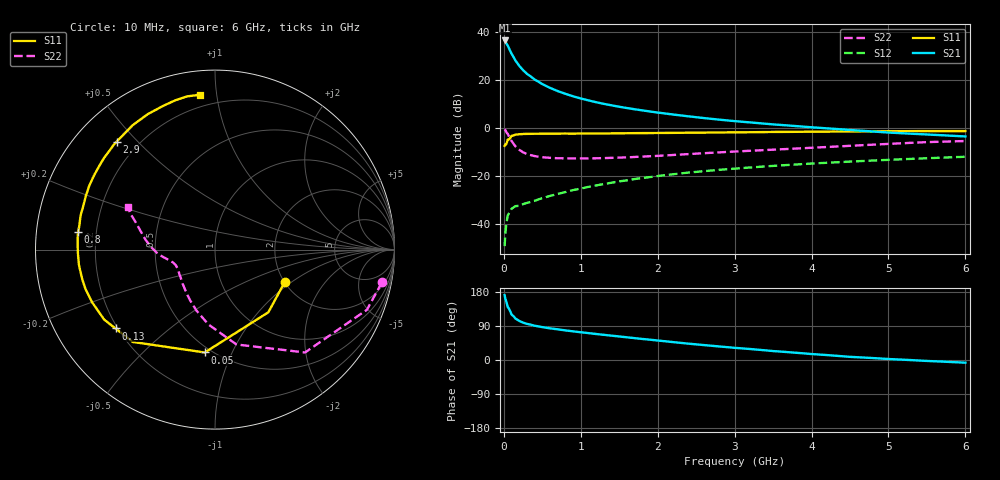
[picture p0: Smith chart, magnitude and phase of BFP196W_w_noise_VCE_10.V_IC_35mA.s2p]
! Infineon Technologies  Discrete & RF Semiconductors
! BFP196W
! VCE =  10. V,  IC =  35 mA
! Common Emitter S-Parameters:  Jan 2017
# GHz  S  MA  R  50
!  f  S11  S21  S12  S22
! GHz  MAG  ANG  MAG  ANG  MAG  ANG  MAG  ANG
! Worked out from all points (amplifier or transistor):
!   77 points, 10 MHz to 6 GHz, reference 50 ohm
!   highest |S21| = 36.5 dB at 10 MHz (marker M1)
!   |S21| within 3 dB of that: start of sweep to 63.32 MHz
!   unconditionally stable (mu >= 1): 833.5 MHz to 3.238 GHz
!   at 130 MHz: K = 0.33, MSG = 31.1 dB, |S12| = -32.9 dB
!   at 2.2 GHz: K = 1.05, MAG = 11.1 dB, |S12| = -19.2 dB
!   at 6 GHz: K = 0.91, MSG = 4.2 dB, |S12| = -11.9 dB
!   lowest NFmin = 1.19 dB at 450 MHz
!   S11 on the Smith chart (normalised r, x): 10 MHz: 2.00, -0.89; 50 MHz: 0.46, -0.79; 130 MHz: 0.19, -0.34; 800 MHz: 0.13, +0.06; 2.9 GHz: 0.12, +0.44; 6 GHz: 0.13, +0.90
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0.01  0.4286 -25.2  66.51 171.0  0.0035 77.0  0.9479 -11.1
0.02  0.4586 -49.6  63.58 161.7  0.0066 78.3  0.9104 -21.6
0.05  0.576 -95.7  52.05 140.3  0.0151 56.5  0.7618 -48.8
0.1  0.6891 -131.7  35.22 119.9  0.0209 43.5  0.5422 -77.2
0.13  0.7072 -141.6  29.31 114.5  0.0226 40.0  0.4624 -86.8
0.15  0.7304 -147.8  25.56 109.6  0.0238 37.9  0.4186 -95.1
0.2  0.7452 -156.9  19.76 103.1  0.0242 37.7  0.3542 -107.1
0.25  0.7542 -163.0  16.05 98.6  0.0262 38.6  0.3137 -116.4
0.3  0.7581 -167.6  13.48 95.4  0.0278 39.9  0.2892 -123.4
0.4  0.763 -173.7  10.24 90.4  0.0307 44.1  0.2617 -133.6
0.5  0.7639 -178.2  8.215 86.7  0.035 48.6  0.2474 -140.5
0.6  0.7656 178.4  6.874 83.6  0.0388 50.1  0.2409 -145.5
0.7  0.7679 175.4  5.887 80.9  0.0426 52.9  0.236 -149.1
0.8  0.7688 172.6  5.164 78.1  0.0467 54.9  0.2352 -151.8
1.1  0.7727 165.5  3.769 71.0  0.0599 57.7  0.2348 -157.1
1.5  0.7793 157.5  2.777 62.1  0.078 58.2  0.2434 -162.4
2.1  0.793 145.9  2.009 49.4  0.1052 56.0  0.2702 -168.5
2.9  0.8136 132.4  1.447 34.0  0.1394 51.0  0.319 -176.0
3.1  0.8177 129.3  1.354 30.6  0.1475 49.5  0.3312 -178.1
4.1  0.8435 115.0  1.014 14.4  0.1865 41.9  0.3969 170.8
5.1  0.8616 104.0  0.793 1.7  0.2221 34.3  0.4774 160.0
6  0.8667 95.6  0.67 -7.1  0.2537 27.5  0.5384 154.1
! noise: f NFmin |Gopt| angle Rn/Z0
0.45  1.19  0.46  180  0.06
0.9  1.33  0.53  -174  0.06
1.9  2.17  0.68  -151  0.13
2.4  2.57  0.73  -145  0.23
